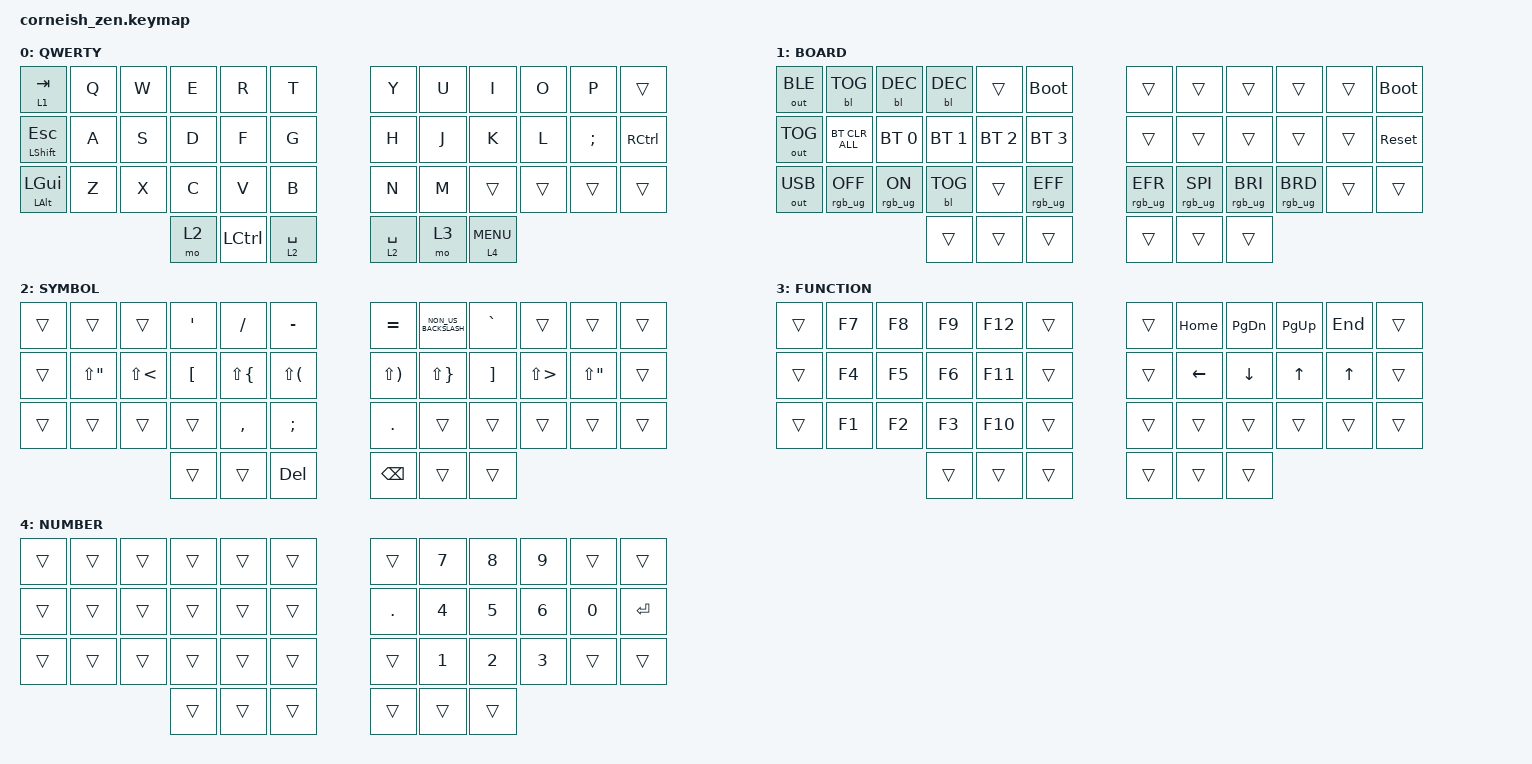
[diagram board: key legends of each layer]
/*
 * Copyright (c) 2020 The ZMK Contributors
 *
 * SPDX-License-Identifier: MIT
 */

#include <behaviors.dtsi>
#include <dt-bindings/zmk/backlight.h>
#include <dt-bindings/zmk/bt.h>
#include <dt-bindings/zmk/keys.h>
#include <dt-bindings/zmk/outputs.h>
#include <dt-bindings/zmk/rgb.h>

/ {
    chosen {
        zmk,matrix_transform = &default_transform;

        // zmk,matrix_transform = &five_column_transform;
    };
};

/ {
    behaviors {
        td0: td0 {
            compatible = "zmk,behavior-tap-dance";
            label = "TD0";
            #binding-cells = <0>;
            bindings = <&kp LEFT_SHIFT>, <&kp CAPS>;
        };
    };

    keymap {
        compatible = "zmk,keymap";

        default_layer {
            display-name = "QWERTY";

            // --------------------------------------------------------------------------------
            // |  TAB |  Q  |  W  |  E  |  R  |  T  |   |  Y  |  U   |  I  |  O  |  P  | BKSP |
            // | CTRL |  A  |  S  |  D  |  F  |  G  |   |  H  |  J   |  K  |  L  |  ;  |  '   | 
            // | SHFT |  Z  |  X  |  C  |  V  |  B  |   |  N  |  M   |  ,  |  .  |  /  | ESC  |
            //                    | GUI | LWR | SPC |   | ENT | RSE  | ALT |

            bindings = <
&lt 1 TAB              &kp Q  &kp W  &kp E  &kp R             &kp T          &kp Y        &kp U  &kp I         &kp O   &kp P     &trans
&mt LEFT_SHIFT ESCAPE  &kp A  &kp S  &kp D  &kp F             &kp G          &kp H        &kp J  &kp K         &kp L   &kp SEMI  &kp RCTRL
&mt LEFT_ALT LEFT_GUI  &kp Z  &kp X  &kp C  &kp V             &kp B          &kp N        &kp M  &trans        &trans  &trans    &trans
                                     &mo 2  &kp LEFT_CONTROL  &lt 2 SPACE    &lt 2 SPACE  &mo 3  &lt 4 C_MENU
            >;
        };

        BOARD {
            display-name = "BOARD";

            // -----------------------------------------------------------------------------------------
            // |  TAB |  1  |  2  |  3  |  4  |  5  |   |  6  |  7  |  8  |  9  |  0  | BKSP |
            // | BTCLR| BT1 | BT2 | BT3 | BT4 | BT5 |   | LFT | DWN |  UP | RGT |     |      |
            // | SHFT |     |     |     |     |     |   |     |     |     |     |     |      |
            //                    | GUI |     | SPC |   | ENT |     | ALT |

            bindings = <
&out OUT_BLE  &bl BL_TOG       &bl BL_DEC      &bl BL_DEC    &trans        &bootloader        &trans           &trans           &trans           &trans           &trans  &bootloader
&out OUT_TOG  &bt BT_CLR_ALL   &bt BT_SEL 0    &bt BT_SEL 1  &bt BT_SEL 2  &bt BT_SEL 3       &trans           &trans           &trans           &trans           &trans  &sys_reset
&out OUT_USB  &rgb_ug RGB_OFF  &rgb_ug RGB_ON  &bl BL_TOG    &trans        &rgb_ug RGB_EFF    &rgb_ug RGB_EFR  &rgb_ug RGB_SPI  &rgb_ug RGB_BRI  &rgb_ug RGB_BRD  &trans  &trans
                                               &trans        &trans        &trans             &trans           &trans           &trans
            >;

            label = "BOARD";
        };

        SYMBOL {
            bindings = <
&trans  &trans       &trans      &kp SQT   &kp SLASH     &kp MINUS       &kp EQUAL      &kp NON_US_BACKSLASH  &kp GRAVE  &trans      &trans       &trans
&trans  &kp LS(DQT)  &kp LS(LT)  &kp LBKT  &kp LS(LBRC)  &kp LS(LPAR)    &kp LS(RPAR)   &kp LS(RBRC)          &kp RBKT   &kp LS(GT)  &kp LS(DQT)  &trans
&trans  &trans       &trans      &trans    &kp COMMA     &kp SEMI        &kp DOT        &trans                &trans     &trans      &trans       &trans
                                 &trans    &trans        &kp DEL         &kp BACKSPACE  &trans                &trans
            >;

            label = "SYMBOL";
        };

        FUNCTION {
            bindings = <
&trans  &kp F7  &kp F8  &kp F9  &kp F12  &trans    &trans  &kp HOME        &kp PG_DN  &kp PG_UP     &kp END  &trans
&trans  &kp F4  &kp F5  &kp F6  &kp F11  &trans    &trans  &kp LEFT_ARROW  &kp DOWN   &kp UP_ARROW  &kp UP   &trans
&trans  &kp F1  &kp F2  &kp F3  &kp F10  &trans    &trans  &trans          &trans     &trans        &trans   &trans
                        &trans  &trans   &trans    &trans  &trans          &trans
            >;

            label = "FUNCTION";
        };

        NUMBER {
            bindings = <
&trans  &trans  &trans  &trans  &trans  &trans    &trans   &kp N7  &kp N8  &kp N9  &trans  &trans
&trans  &trans  &trans  &trans  &trans  &trans    &kp DOT  &kp N4  &kp N5  &kp N6  &kp N0  &kp ENTER
&trans  &trans  &trans  &trans  &trans  &trans    &trans   &kp N1  &kp N2  &kp N3  &trans  &trans
                        &trans  &trans  &trans    &trans   &trans  &trans
            >;

            label = "NUMBER";
        };
    };
};
